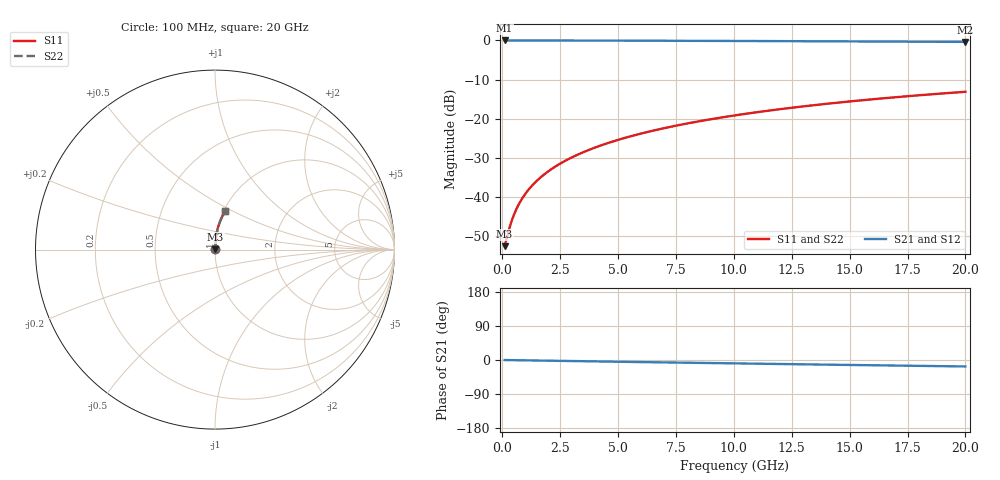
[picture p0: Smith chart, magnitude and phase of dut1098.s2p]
! Touchstone file exported from HFSS 2024.1.0
!  File:  C:/UserFiles/LocalFiles/RDL_TSV_Batchsim/temp_RDL_bottom_1098_1780053872.aedt
!  Generated:  07:26:42 PM May 29, 2026
!  Design:  RDL_bottom
!  Project:  temp_RDL_bottom_1098_1780053872
!  Setup:  Setup1
!  Solution:  Sweep
! Variables:
!  dtsv = 10.80580581um
!  hbump = 3um
!  htsv = 93.27um
!  ldown = 167.92um
!  lrdl = 100um
!  p = 40
!  p1 = 52.94um
!  rhole = 1um
!  t = 450um
!  tdown = 2.08um
!  trdl = 3.915915916um
!  wdown = 16.56um
!  wrdl = 20um
# GHz S MA R 50.000000
! Terminal data exported
! Port[1] = RDL1_T1
! Port[2] = RDL1_T2
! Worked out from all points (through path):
!   200 points, 100 MHz to 20 GHz, reference 50 ohm
!   highest |S21| = -0.02 dB at 100 MHz (marker M1); lowest = -0.4 dB at 20 GHz (marker M2)
!   group delay of S21, straight-line fit = 2.36 ps
!   lowest |S11| = -52.5 dB at 100 MHz (marker M3), VSWR 1.00, Z = 50.2 + j0.112 ohm
!   |S11| at or under -10 dB: start of sweep to end of sweep
!   |S22| runs from -52.5 to -13.1 dB; largest |S21 - S12| = 4.1e-15
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0.1  0.002366 28.1  0.9979 -0.1  0.9979 -0.1  0.002366 28.1
! Gamma 0 0 0 0
! Port Impedance 50 0 50 0
0.3  0.003952 57.2  0.9978 -0.3  0.9978 -0.3  0.003952 57.2
0.4  0.004922 63.7  0.9978 -0.4  0.9978 -0.4  0.004922 63.7
0.5  0.005926 67.9  0.9977 -0.5  0.9977 -0.5  0.005926 67.9
0.6  0.006945 70.9  0.9977 -0.6  0.9977 -0.6  0.006945 70.9
0.7  0.007971 73.1  0.9976 -0.7  0.9976 -0.7  0.007971 73.1
0.9  0.01003 76.2  0.9975 -0.9  0.9975 -0.9  0.01003 76.2
1.2  0.01314 79.0  0.9973 -1.1  0.9973 -1.1  0.01314 79.0
1.4  0.01521 80.3  0.9971 -1.3  0.9971 -1.3  0.01521 80.3
1.7  0.01834 81.7  0.9969 -1.6  0.9969 -1.6  0.01834 81.7
2.2  0.02359 83.2  0.9965 -2.1  0.9965 -2.1  0.02359 83.2
2.8  0.02995 84.2  0.9959 -2.6  0.9959 -2.6  0.02995 84.2
3.5  0.03744 84.9  0.9951 -3.2  0.9951 -3.2  0.03745 84.9
4.2  0.04501 85.2  0.9942 -3.9  0.9942 -3.9  0.04501 85.2
5  0.05375 85.3  0.993 -4.6  0.993 -4.6  0.05375 85.3
5.9  0.06369 85.2  0.9914 -5.4  0.9914 -5.4  0.06369 85.2
6.8  0.07372 84.9  0.9898 -6.2  0.9898 -6.2  0.07372 84.9
8.3  0.09061 84.2  0.9868 -7.5  0.9868 -7.5  0.09061 84.2
10.1  0.111 83.1  0.9828 -9.0  0.9828 -9.0  0.111 83.1
13.4  0.1484 80.6  0.9749 -11.8  0.9749 -11.8  0.1484 80.6
16.7  0.1851 77.9  0.9662 -14.4  0.9662 -14.4  0.1851 77.9
20  0.2209 75.1  0.9568 -17.1  0.9568 -17.1  0.2209 75.1
